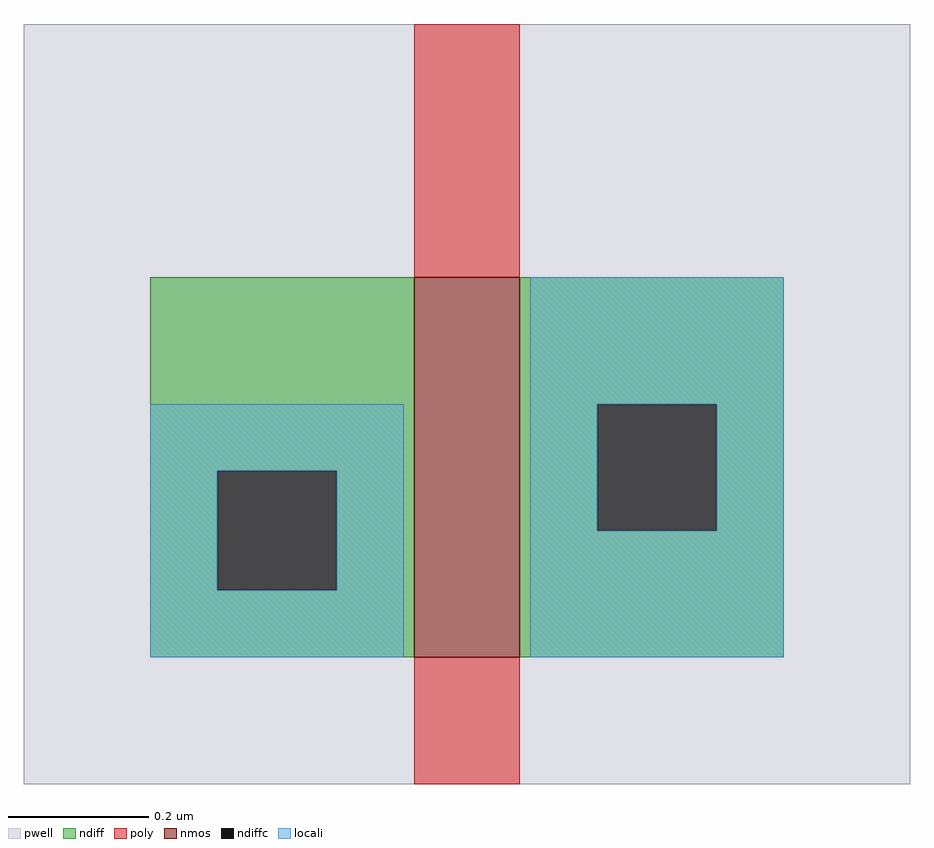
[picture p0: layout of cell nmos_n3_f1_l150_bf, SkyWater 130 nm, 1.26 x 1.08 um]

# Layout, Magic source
magic
tech sky130A
magscale 1 2
<< pwell >>
rect -72 -36 180 180
<< nmos >>
rect 39 0 69 108
<< ndiff >>
rect -36 53 39 108
rect -36 19 -17 53
rect 17 19 39 53
rect -36 0 39 19
rect 69 72 144 108
rect 69 36 91 72
rect 125 36 144 72
rect 69 0 144 36
<< ndiffc >>
rect -17 19 17 53
rect 91 36 125 72
<< poly >>
rect 39 108 69 180
rect 39 -36 69 0
<< locali >>
rect 72 72 144 108
rect -36 53 36 72
rect -36 19 -17 53
rect 17 19 36 53
rect -36 0 36 19
rect 72 36 91 72
rect 125 36 144 72
rect 72 0 144 36
<< end >>
